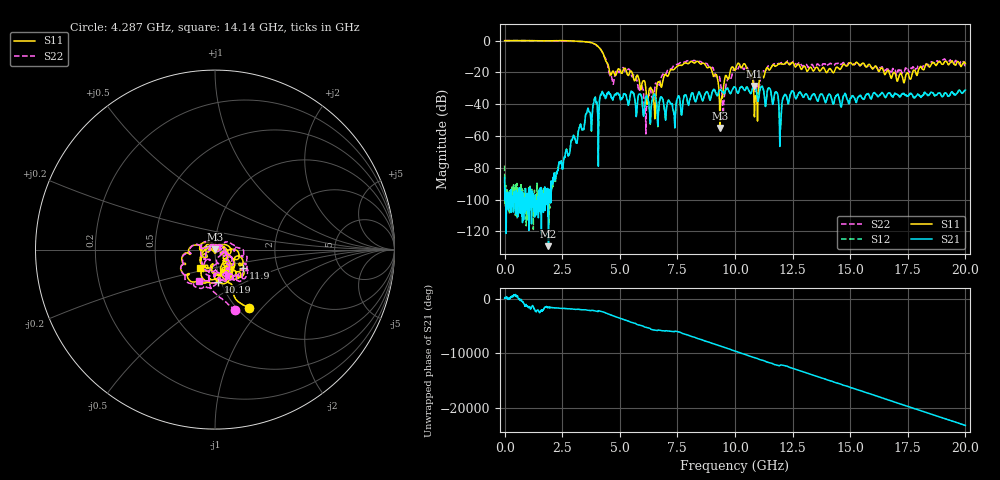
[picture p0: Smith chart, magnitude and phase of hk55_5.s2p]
#  HZ  S  RI  R  50.00
! Rohde & Schwarz Vector Network Analyzer
! Rohde-Schwarz,ZNB20-2Port,1311601062102128,3.60
! Created: UTC 4/29/2024, 3:44:38 PM
! freq[Hz]  re:S11  im:S11  re:S21  im:S21  re:S12  im:S12  re:S22  im:S22
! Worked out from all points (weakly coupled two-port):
!   2007 points, 100 kHz to 20 GHz, reference 50 ohm
!   highest |S21| = -28.49 dB at 10.83 GHz (marker M1); lowest = -129.2 dB at 1.904 GHz (marker M2)
!   lowest |S11| = -54.9 dB at 9.342 GHz (marker M3), VSWR 1.00, Z = 50.1 + j0.173 ohm
!   |S11| at or under -10 dB: 4.327 GHz to end of sweep
!   |S22| runs from -58.7 to 0.1 dB; largest |S21 - S12| = 0.0019
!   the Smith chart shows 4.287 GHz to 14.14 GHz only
!   S11 on the Smith chart (normalised r, x): 4.287 GHz: 1.13, -0.86; 10.19 GHz: 0.97, -0.36; 11.9 GHz: 1.34, -0.28; 14.14 GHz: 0.83, -0.17
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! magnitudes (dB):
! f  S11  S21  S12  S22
! 100 kHz  0.0  -86.1  -78.5  0.1
! 1.904 GHz  -0.1  -129.2  -95.8  -0.2
! 3.34 GHz  -0.6  -55.3  -55.0  -0.6
! 4.287 GHz  -8.5  -33.2  -33.3  -8.9
! 4.656 GHz  -20.2  -35.7  -35.7  -23.6
! 5.653 GHz  -25.1  -36.8  -37.0  -21.6
! 6.132 GHz  -30.5  -35.4  -35.4  -58.7
! 6.501 GHz  -42.5  -33.4  -33.5  -32.5
! 6.67 GHz  -25.8  -46.9  -47.0  -28.0
! 8.375 GHz  -13.1  -34.3  -34.3  -13.5
! 9.173 GHz  -21.4  -33.3  -33.2  -22.6
! 9.342 GHz  -54.9  -30.9  -30.8  -23.7
! 9.502 GHz  -29.1  -32.9  -33.0  -42.3
! 10 GHz  -18.6  -29.4  -29.4  -17.5
! 10.19 GHz  -15.0  -30.8  -30.8  -16.2
! 10.83 GHz  -38.3  -28.5  -28.5  -28.4
! 11.79 GHz  -15.9  -32.3  -32.3  -14.7
! 11.9 GHz  -14.6  -40.8  -40.7  -14.4
! 13.34 GHz  -17.9  -34.4  -34.5  -14.9
! 14.14 GHz  -17.7  -34.3  -34.2  -14.3
! 16.67 GHz  -19.1  -33.0  -32.9  -18.9
! 20 GHz  -14.5  -31.2  -31.1  -15.2
